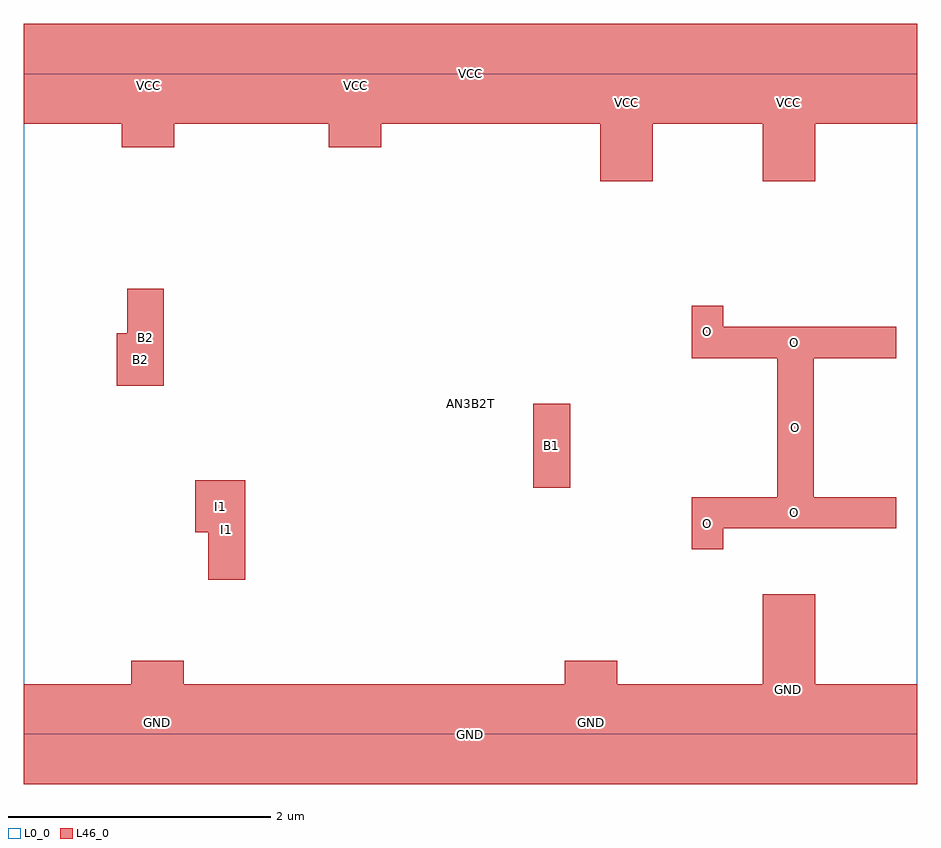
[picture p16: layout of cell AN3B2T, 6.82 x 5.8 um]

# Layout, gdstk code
import gdstk
lib = gdstk.Library(unit=1e-6, precision=1e-09)
def R(c, l, rs):  # rectangles x0, y0, x1, y1
    for r in rs: c.add(gdstk.rectangle(r[:2], r[2:], *l))
L0_0 = (0, 0)
L46_0 = (46, 0)

an3b2t = lib.new_cell('AN3B2T')
R(an3b2t, L0_0, [(0,0,6.82,5.04)])
R(an3b2t, L46_0, [(0,-0.38,6.82,0.38), (0.82,-0.38,1.22,0.56), (4.13,-0.38,4.53,0.56), (5.64,-0.38,6.04,1.07), (1.41,1.18,1.69,1.94), (5.1,1.41,5.34,1.81), (1.31,1.54,1.69,1.94), (5.1,1.57,6.66,1.81), (5.75,1.57,6.03,3.11), (3.89,1.88,4.17,2.52), (0.71,2.66,1.07,3.06), (0.79,2.66,1.07,3.4), (5.1,2.87,5.34,3.27), (5.1,2.87,6.66,3.11), (4.4,4.22,4.8,5.42), (5.64,4.22,6.04,5.42), (0.75,4.48,1.15,5.42), (2.33,4.48,2.73,5.42), (0,4.66,6.82,5.42)])
an3b2t.add(gdstk.Label('AN3B2T', (3.41,2.52), layer=0, texttype=0))
an3b2t.add(gdstk.Label('O', (5.22,3.07), layer=101, texttype=0))
an3b2t.add(gdstk.Label('O', (5.89,2.34), layer=101, texttype=0))
an3b2t.add(gdstk.Label('O', (5.88,1.69), layer=101, texttype=0))
an3b2t.add(gdstk.Label('O', (5.88,2.99), layer=101, texttype=0))
an3b2t.add(gdstk.Label('O', (5.22,1.61), layer=101, texttype=0))
an3b2t.add(gdstk.Label('I1', (1.5,1.74), layer=101, texttype=0))
an3b2t.add(gdstk.Label('I1', (1.55,1.56), layer=101, texttype=0))
an3b2t.add(gdstk.Label('B2', (0.93,3.03), layer=101, texttype=0))
an3b2t.add(gdstk.Label('B2', (0.89,2.86), layer=101, texttype=0))
an3b2t.add(gdstk.Label('B1', (4.03,2.2), layer=101, texttype=0))
an3b2t.add(gdstk.Label('GND', (4.33,0.09), layer=101, texttype=0))
an3b2t.add(gdstk.Label('GND', (5.84,0.345), layer=101, texttype=0))
an3b2t.add(gdstk.Label('GND', (3.41,0), layer=101, texttype=0))
an3b2t.add(gdstk.Label('GND', (1.02,0.09), layer=101, texttype=0))
an3b2t.add(gdstk.Label('VCC', (2.53,4.95), layer=101, texttype=0))
an3b2t.add(gdstk.Label('VCC', (4.6,4.82), layer=101, texttype=0))
an3b2t.add(gdstk.Label('VCC', (5.84,4.82), layer=101, texttype=0))
an3b2t.add(gdstk.Label('VCC', (3.41,5.04), layer=101, texttype=0))
an3b2t.add(gdstk.Label('VCC', (0.95,4.95), layer=101, texttype=0))

lib.write_gds('AN3B2T.gds')
